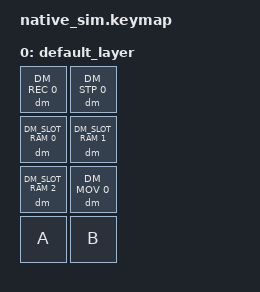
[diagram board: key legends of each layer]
#include <dt-bindings/zmk/keys.h>
#include <behaviors.dtsi>
#include <dt-bindings/zmk/kscan_mock.h>
#include <behaviors/dynamic_macro.dtsi>
#include <dt-bindings/zmk/dynamic_macros.h>

/* 3 RAM slots: fill slots 0 and 1, leave slot 2 empty.
 * Move slot 1 (second-last filled) to slot 2 (the only empty slot).
 * Verify slot 1 is now empty and slot 2 plays the moved macro. */

&kscan {
    rows = <4>;
    columns = <2>;
    exit-after;
    events = <
        /* Record A into slot 0 */
        ZMK_MOCK_PRESS(0,0,10)
        ZMK_MOCK_RELEASE(0,0,10)
        ZMK_MOCK_PRESS(3,0,10)
        ZMK_MOCK_RELEASE(3,0,10)
        ZMK_MOCK_PRESS(0,1,10)
        ZMK_MOCK_RELEASE(0,1,10)
        ZMK_MOCK_PRESS(1,0,10)
        ZMK_MOCK_RELEASE(1,0,10)
        /* Record B into slot 1 */
        ZMK_MOCK_PRESS(0,0,10)
        ZMK_MOCK_RELEASE(0,0,10)
        ZMK_MOCK_PRESS(3,1,10)
        ZMK_MOCK_RELEASE(3,1,10)
        ZMK_MOCK_PRESS(0,1,10)
        ZMK_MOCK_RELEASE(0,1,10)
        ZMK_MOCK_PRESS(1,1,10)
        ZMK_MOCK_RELEASE(1,1,10)
        /* Move slot 1 -> slot 2 (last/only empty slot) */
        ZMK_MOCK_PRESS(2,1,10)
        ZMK_MOCK_RELEASE(2,1,10)
        ZMK_MOCK_PRESS(1,1,10)
        ZMK_MOCK_RELEASE(1,1,10)
        ZMK_MOCK_PRESS(2,0,10)
        ZMK_MOCK_RELEASE(2,0,10)
        /* Play slot 1: should be empty (moved away) */
        ZMK_MOCK_PRESS(1,1,200)
        ZMK_MOCK_RELEASE(1,1,10)
        /* Play slot 2: should be B (moved here) */
        ZMK_MOCK_PRESS(2,0,2000)
        ZMK_MOCK_RELEASE(2,0,10)
    >;
};

/ {
    keymap {
        compatible = "zmk,keymap";
        default_layer {
            bindings = <
                &dm DM_REC 0        &dm DM_STP 0
                &dm DM_SLOT_RAM 0   &dm DM_SLOT_RAM 1
                &dm DM_SLOT_RAM 2   &dm DM_MOV 0
                &kp A               &kp B
            >;
        };
    };
};
